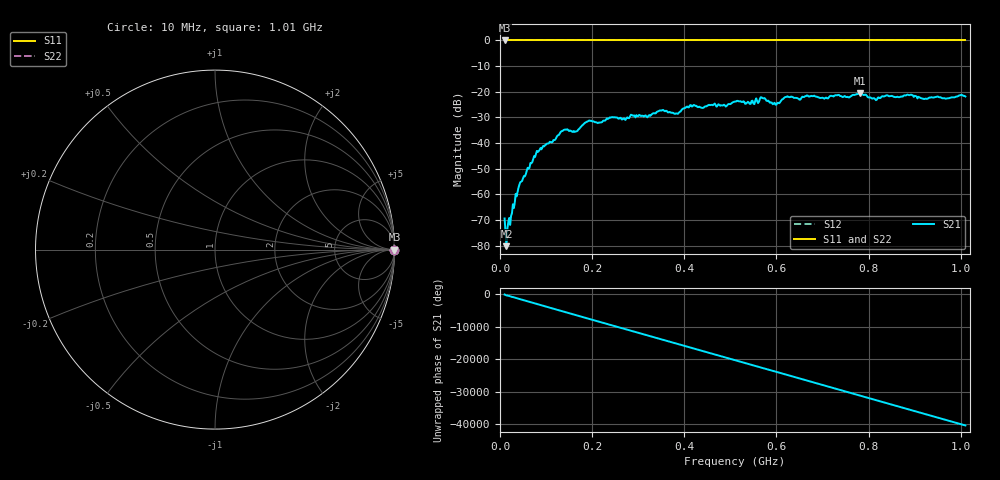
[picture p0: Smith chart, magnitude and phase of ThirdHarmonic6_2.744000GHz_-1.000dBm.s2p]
! 8/17/2025 6:49:40 AM
! C:\ANRITSUVNA\TEMP\TEMP.S2P
! CHANNEL.1
! TR.MEASUREMENT
! RAW.DATA
! RF.CORRECTION.OFF
! AVERAGING.OFF
! IF.BANDWIDTH: 5KHZ
! SWEEPTYPE:  FREQ.SWEEP(Linear)
! Reference Plane Port Info
! PORT:  PORT1  PORT2
! DISTANCE:  0  m  0  m
! TIME:  0  s  0  s
! PHASE.OFFSET:  0  deg.  0  deg.
! LOSS:  0  dB  0  dB
! REF.LOSS:  0  dB  0  dB
! REF.FREQ:  0  Hz  0  Hz
! Power Info
! POWER:  -20  dBm  -20  dBm
! EFF.POWER:  -20  dBm  -20  dBm
! SOURCE.ATTEN:  0  dB  0  dB
! TEST.ATTEN:  0  dB  0  dB
# GHZ S RI R 50.0
! FREQ.GHZ  S11RE  S11IM  S21RE  S21IM  S12RE  S12IM  S22RE  S22IM
!; PortSelection: Port_12
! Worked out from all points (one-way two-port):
!   501 points, 10 MHz to 1.01 GHz, reference 50 ohm
!   highest |S21| = -20.67 dB at 782 MHz (marker M1); lowest = -80.2 dB at 14 MHz (marker M2)
!   lowest |S11| = 0.0 dB at 10 MHz (marker M3)
!   |S11| at or under -10 dB: nowhere
!   |S22| runs from 0.0 to 0.0 dB; largest |S21 - S12| = 1.1
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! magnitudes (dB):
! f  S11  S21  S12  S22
! 10 MHz  0.0  -69.4  0.0  0.0
! 14 MHz  0.0  -80.2  0.0  0.0
! 18 MHz  0.0  -70.8  0.0  0.0
! 42 MHz  0.0  -56.3  0.0  0.0
! 78 MHz  0.0  -44.2  0.0  0.0
! 136 MHz  0.0  -35.3  0.0  0.0
! 164 MHz  0.0  -35.5  0.0  0.0
! 178 MHz  0.0  -33.2  0.0  0.0
! 194 MHz  0.0  -31.2  0.0  0.0
! 344 MHz  0.0  -27.6  0.0  0.0
! 382 MHz  0.0  -28.5  0.0  0.0
! 416 MHz  0.0  -25.7  0.0  0.0
! 510 MHz  0.0  -23.8  0.0  0.0
! 548 MHz  0.0  -23.5  0.0  0.0
! 570 MHz  0.0  -22.5  0.0  0.0
! 596 MHz  0.0  -24.3  0.0  0.0
! 622 MHz  0.0  -21.9  0.0  0.0
! 678 MHz  0.0  -21.7  0.0  0.0
! 782 MHz  0.0  -20.7  0.0  0.0
! 814 MHz  0.0  -22.8  0.0  0.0
! 844 MHz  0.0  -21.8  0.0  0.0
! 1.01 GHz  0.0  -21.9  0.0  0.0
